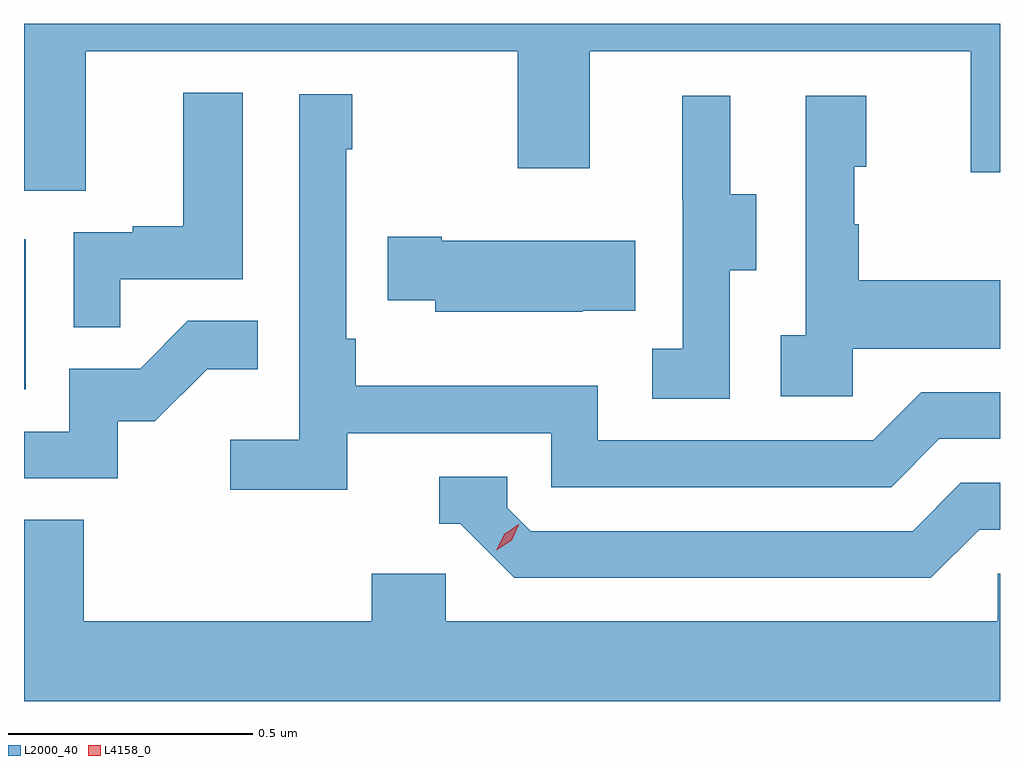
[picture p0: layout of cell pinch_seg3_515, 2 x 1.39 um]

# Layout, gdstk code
import gdstk
lib = gdstk.Library(unit=1e-6, precision=1e-09)
def R(c, l, rs):  # rectangles x0, y0, x1, y1
    for r in rs: c.add(gdstk.rectangle(r[:2], r[2:], *l))
def P(c, l, *ps):  # polygons
    for p in ps: c.add(gdstk.Polygon(p, *l))
L2000_40 = (2000, 40)
L4158_0 = (4158, 0)

pinch_seg3_515 = lib.new_cell('pinch_seg3_515')
R(pinch_seg3_515, L2000_40, [(965.568,680.244,965.572,680.551)])
P(pinch_seg3_515, L2000_40, [(965.695,680.936),(966.58,680.936),(966.58,680.697),(966.727,680.697),(966.727,680.936),(967.508,680.936),(967.508,680.688),(967.568,680.688),(967.568,680.993),(965.568,680.993),(965.568,680.65),(965.695,680.65)],
  [(965.765,680.469),(966.016,680.469),(966.016,680.851),(965.894,680.851),(965.894,680.578),(965.791,680.578),(965.791,680.565),(965.67,680.565),(965.67,680.371),(965.765,680.371)],
  [(966.23,680.154),(966.648,680.154),(966.648,680.043),(967.345,680.043),(967.444,680.142),(967.568,680.142),(967.568,680.238),(967.407,680.238),(967.308,680.139),(966.744,680.139),(966.744,680.251),(966.248,680.251),(966.248,680.347),(966.228,680.347),(966.228,680.735),(966.241,680.735),(966.241,680.848),(966.132,680.848),(966.132,680.14),(965.991,680.14),(965.991,680.038),(966.23,680.038)],
  [(967.014,680.488),(967.069,680.488),(967.069,680.643),(967.015,680.643),(967.015,680.845),(966.917,680.845),(966.917,680.631),(966.918,680.631),(966.918,680.327),(966.855,680.327),(966.855,680.224),(967.014,680.224)],
  [(967.266,680.327),(967.568,680.327),(967.568,680.467),(967.279,680.467),(967.279,680.582),(967.269,680.582),(967.269,680.7),(967.294,680.7),(967.294,680.845),(967.17,680.845),(967.17,680.354),(967.119,680.354),(967.119,680.229),(967.266,680.229)],
  [(966.713,680.405),(966.821,680.405),(966.821,680.548),(966.424,680.548),(966.424,680.556),(966.313,680.556),(966.313,680.426),(966.411,680.426),(966.411,680.402),(966.713,680.402)],
  [(965.76,680.178),(965.836,680.178),(965.943,680.285),(966.047,680.285),(966.047,680.384),(965.904,680.384),(965.806,680.286),(965.661,680.286),(965.661,680.157),(965.568,680.157),(965.568,680.061),(965.76,680.061)],
  [(967.525,679.956),(967.568,679.956),(967.568,680.052),(967.488,680.052),(967.389,679.953),(966.606,679.953),(966.558,680.001),(966.558,680.064),(966.419,680.064),(966.419,679.968),(966.462,679.968),(966.573,679.857),(967.426,679.857)],
  [(967.568,679.866),(967.563,679.866),(967.563,679.768),(966.432,679.768),(966.432,679.866),(966.281,679.866),(966.281,679.768),(965.69,679.768),(965.69,679.976),(965.568,679.976),(965.568,679.604),(967.568,679.604)])
P(pinch_seg3_515, L4158_0, [(966.536,679.914),(966.536,679.914),(966.552,679.947),(966.582,679.967),(966.582,679.967),(966.582,679.966),(966.567,679.934),(966.536,679.914)])

lib.write_gds('pinch_seg3_515.gds')
